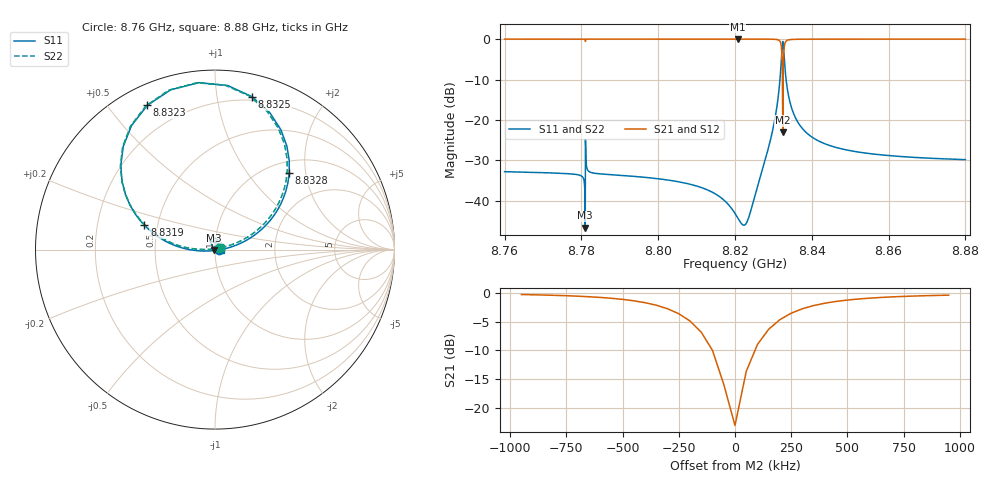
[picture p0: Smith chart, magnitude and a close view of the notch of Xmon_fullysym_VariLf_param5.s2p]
! Sonnet Data File
! From: emgraph Version : 16.52
! From Project: 171117_Xmon_fullysym
! Data is De-embedded
! Data File Written: 11/27/2017 00:27:56
!< HDATE 11/26/2017 21:47:59
!< MDATE 11/26/2017 21:47:59
!< PARAMS
!< Lj = 11.0
!< Gap = 1.0
!< Pwid = 2000.0
!< Airgap = 6.0
!< Width = 10.0
!< Lj1 = 10.7
!< END PARAMS
# GHZ S MA R 50.90000
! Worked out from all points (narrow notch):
!   2401 points, 8.76 GHz to 8.88 GHz, reference 50.9 ohm
!   highest |S21| = 0.00 dB at 8.8208 GHz (marker M1); lowest = -23.0 dB at 8.8324 GHz (marker M2)
!   notch at M2: 23.0 dB deep, 160 kHz wide at half that depth
!   lowest |S11| = -46.6 dB at 8.781 GHz (marker M3), VSWR 1.01, Z = 50.5 - j0.254 ohm
!   |S11| at or under -10 dB: start of sweep to 8.8317 GHz; 8.8333 GHz to end of sweep
!   |S22| runs from -45.8 to -0.6 dB; largest |S21 - S12| = 0
!   S11 on the Smith chart (normalised r, x): 8.76 GHz: 1.05, -0.00; 8.8319 GHz: 0.42, +0.14; 8.8323 GHz: 0.08, +0.63; 8.8325 GHz: 0.17, +1.26; 8.8328 GHz: 1.22, +1.63; 8.88 GHz: 1.07, -0.00
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8.76  0.02299 -3.6  0.9997 -80.7  0.9997 -80.7  0.02299 22.4
!< P1 F=8.76 Eeff=(6.44841381 -2.9796e-5) Z0=(50.9085048 1.17026e-4) R=0.0 C=0.0
!< P2 F=8.76 Eeff=(6.44841381 -2.9796e-5) Z0=(50.9085048 1.17026e-4) R=0.0 C=0.0
8.78  0.02037 -6.4  0.9998 -81.0  0.9998 -81.0  0.02039 24.6
8.781  0.004676 -147.4  0.9923 -82.3  0.9923 -82.3  0.01703 102.7
8.8  0.0188 -7.2  0.9998 -81.3  0.9998 -81.3  0.0188 24.7
8.81315  0.01347 -14.0  0.9999 -81.7  0.9999 -81.7  0.01348 30.7
8.82  0.007011 -38.4  0.9999 -82.2  0.9999 -82.2  0.00706 54.4
8.82075  0.00613 -47.7  0.9999 -82.3  0.9999 -82.3  0.006193 63.5
8.8226  0.005072 -91.7  0.9999 -82.6  0.9999 -82.6  0.005177 106.4
8.8243  0.008142 -135.5  0.9999 -82.9  0.9999 -82.9  0.008237 148.8
8.82985  0.07641 -174.1  0.9963 -87.0  0.9963 -87.0  0.07651 179.1
8.83135  0.212 175.0  0.9732 -94.8  0.9732 -94.8  0.2122 173.1
8.8319  0.4161 161.0  0.8943 -107.2  0.8943 -107.2  0.4164 160.5
8.83235  0.8877 115.2  0.3158 -143.1  0.3158 -143.1  0.8883 115.7
8.83245  0.9344 95.4  0.07054 -61.1  0.07054 -61.1  0.935 96.2
8.83255  0.8764 76.4  0.3559 -22.8  0.3559 -22.8  0.877 77.3
8.8328  0.596 46.1  0.7736 -46.1  0.7736 -46.1  0.5964 47.6
8.8331  0.3924 31.0  0.9094 -59.5  0.9094 -59.5  0.3927 33.1
8.83355  0.257 21.7  0.9625 -67.7  0.9625 -67.7  0.2572 24.6
8.83505  0.1275 12.4  0.9911 -75.3  0.9911 -75.3  0.1276 17.7
8.84  0.06171 5.8  0.998 -79.2  0.998 -79.2  0.06173 16.0
8.86  0.03637 0.8  0.9993 -80.8  0.9993 -80.8  0.03638 17.7
8.88  0.03238 -0.7  0.9995 -81.2  0.9995 -81.2  0.03238 18.3
